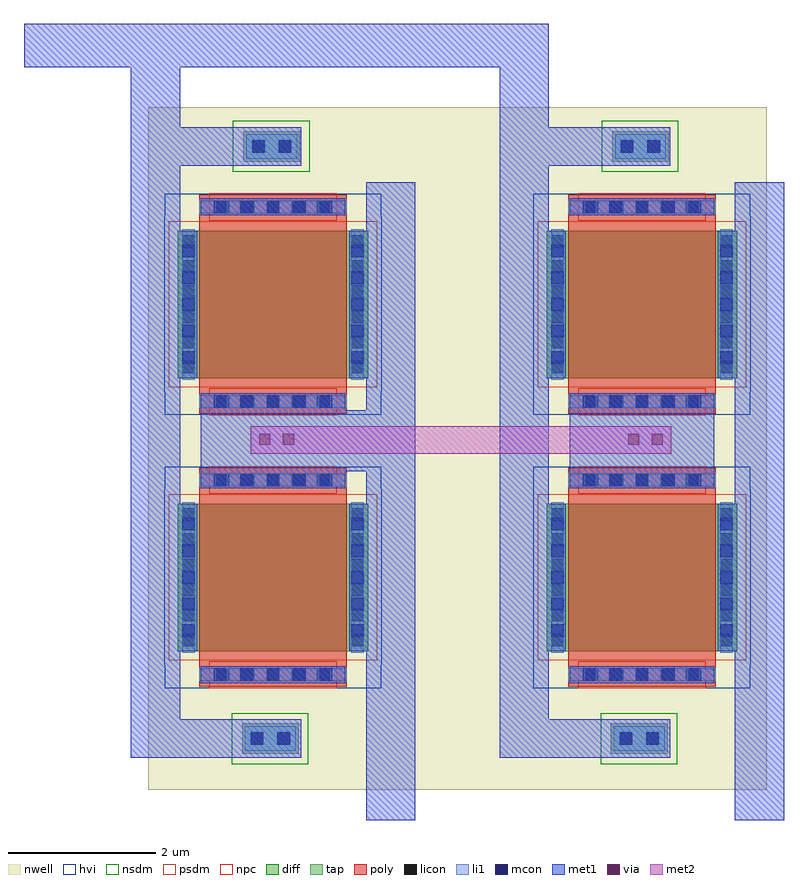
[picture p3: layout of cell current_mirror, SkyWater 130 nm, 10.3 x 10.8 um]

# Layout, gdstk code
import gdstk
lib = gdstk.Library(unit=1e-6, precision=1e-09)
def R(c, l, rs):  # rectangles x0, y0, x1, y1
    for r in rs: c.add(gdstk.rectangle(r[:2], r[2:], *l))
def A(c, l, x, y, w, h, nx, ny, dx, dy):  # array of equal rectangles
    R(c, l, [(x+i*dx, y+j*dy, x+i*dx+w, y+j*dy+h) for i in range(nx) for j in range(ny)])
nwell = (64, 20)
diff = (65, 20)
tap = (65, 44)
poly = (66, 20)
licon = (66, 44)
li1 = (67, 20)
mcon = (67, 44)
met1 = (68, 20)
via = (68, 44)
met2 = (69, 20)
hvi = (75, 20)
nsdm = (93, 44)
psdm = (94, 20)
npc = (95, 20)

contact_2 = lib.new_cell('contact$2')
R(contact_2, tap, [(-0.385,-0.205,0.385,0.205)])
R(contact_2, licon, [(-0.265,-0.085,-0.095,0.085), (0.095,-0.085,0.265,0.085)])
R(contact_2, li1, [(-0.345,-0.165,0.345,0.165)])

contact_3 = lib.new_cell('contact$3')
R(contact_3, li1, [(-0.345,-0.165,0.345,0.165)])
R(contact_3, mcon, [(-0.265,-0.085,-0.095,0.085), (0.095,-0.085,0.265,0.085)])
R(contact_3, met1, [(-0.325,-0.145,0.325,0.145)])

sky130_fd_pr__pfet_g5v0d = lib.new_cell('sky130_fd_pr__pfet_g5v0d10v5_QSRSHK')
R(sky130_fd_pr__pfet_g5v0d, nwell, [(-1.47,-2.88,1.47,2.67)])
R(sky130_fd_pr__pfet_g5v0d, diff, [(-1.29,-1,1.29,1)])
R(sky130_fd_pr__pfet_g5v0d, poly, [(-1,-1.485,1,1.485)])
A(sky130_fd_pr__pfet_g5v0d, licon, -0.765, -1.405, 0.17, 0.17, 5, 2, 0.34, 2.64)
A(sky130_fd_pr__pfet_g5v0d, licon, -1.23, -0.935, 0.17, 0.17, 1, 6, 0, 0.34)
A(sky130_fd_pr__pfet_g5v0d, licon, 1.06, -0.935, 0.17, 0.17, 1, 6, 0, 0.34)
R(sky130_fd_pr__pfet_g5v0d, li1, [(-1,-1.405,1,-1.235), (-1.23,-1.02,-1.06,1.02), (1.06,-1.02,1.23,1.02), (-1,1.235,1,1.405)])
A(sky130_fd_pr__pfet_g5v0d, mcon, -0.805, -1.405, 0.17, 0.17, 5, 2, 0.36, 2.64)
A(sky130_fd_pr__pfet_g5v0d, mcon, -1.23, -0.805, 0.17, 0.17, 1, 5, 0, 0.36)
A(sky130_fd_pr__pfet_g5v0d, mcon, 1.06, -0.805, 0.17, 0.17, 1, 5, 0, 0.36)
R(sky130_fd_pr__pfet_g5v0d, met1, [(-0.98,-1.435,0.98,-1.205), (-1.26,-1,-1.03,1), (1.03,-1,1.26,1), (-0.98,1.205,0.98,1.435)])
R(sky130_fd_pr__pfet_g5v0d, hvi, [(-1.47,-1.5,1.47,-1.185), (-1.475,-1.185,1.475,1.185), (-1.47,1.185,1.47,1.5)])
R(sky130_fd_pr__pfet_g5v0d, psdm, [(-1.415,-1.125,1.415,1.125)])
R(sky130_fd_pr__pfet_g5v0d, npc, [(-0.865,-1.505,0.865,-1.135), (-0.865,1.135,0.865,1.505)])

m2_pfet_w2_l2 = lib.new_cell('m2_pfet_w2_l2')
R(m2_pfet_w2_l2, met1, [(1.26,-3.295,1.925,5.355), (-1.925,-2.445,-1.26,6.91), (-1.26,-2.445,0.38,-1.925), (-0.98,1.435,0.98,2.265), (-1.26,5.58,0.38,6.1)])
R(m2_pfet_w2_l2, nsdm, [(-0.56,-2.53,0.48,-1.84), (-0.545,5.495,0.495,6.185)])
m2_pfet_w2_l2.add(gdstk.Reference(contact_2, (-0.035,-2.185)))
m2_pfet_w2_l2.add(gdstk.Reference(contact_3, (-0.035,-2.185)))
m2_pfet_w2_l2.add(gdstk.Reference(contact_2, (-0.02,5.84)))
m2_pfet_w2_l2.add(gdstk.Reference(contact_3, (-0.02,5.84)))
r = gdstk.Reference(sky130_fd_pr__pfet_g5v0d, (0,0)); r.repetition = gdstk.Repetition(1, 2, v1=(0,0), v2=(0,3.7)); m2_pfet_w2_l2.add(r)

contact_4 = lib.new_cell('contact$4')
R(contact_4, met1, [(-0.32,-0.16,0.32,0.16)])
R(contact_4, via, [(-0.235,-0.075,-0.085,0.075), (0.085,-0.075,0.235,0.075)])
R(contact_4, met2, [(-0.32,-0.16,0.32,0.16)])

current_mirror = lib.new_cell('current_mirror')
R(current_mirror, nwell, [(-4.805,-1.93,3.575,7.32)])
R(current_mirror, met1, [(-2.135,2.385,-1.855,3.215), (-6.49,7.86,0.625,8.455)])
R(current_mirror, met2, [(-3.42,2.625,2.28,3)])
r = gdstk.Reference(m2_pfet_w2_l2, (-3.115,0.95)); r.repetition = gdstk.Repetition(2, 1, v1=(5,0), v2=(0,0)); current_mirror.add(r)
r = gdstk.Reference(contact_4, (-3.065,2.82)); r.repetition = gdstk.Repetition(2, 1, v1=(5,0), v2=(0,0)); current_mirror.add(r)

lib.write_gds('current_mirror.gds')
